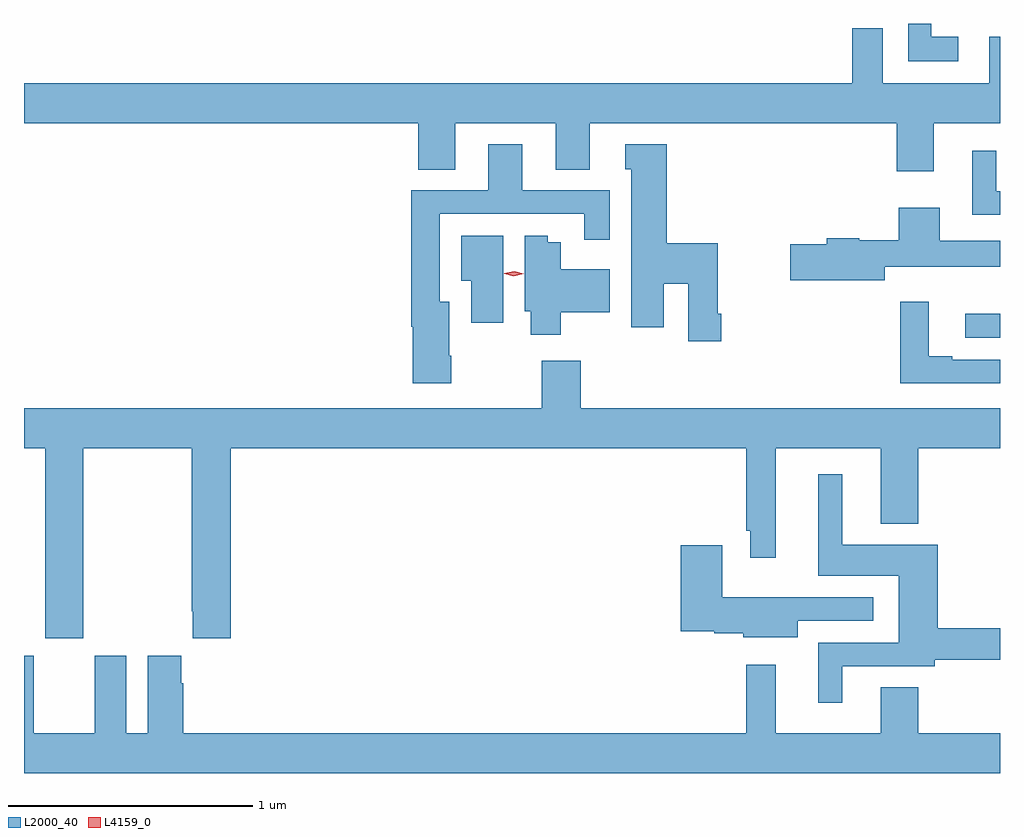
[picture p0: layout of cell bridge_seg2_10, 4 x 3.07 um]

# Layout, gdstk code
import gdstk
lib = gdstk.Library(unit=1e-6, precision=1e-09)
def R(c, l, rs):  # rectangles x0, y0, x1, y1
    for r in rs: c.add(gdstk.rectangle(r[:2], r[2:], *l))
def P(c, l, *ps):  # polygons
    for p in ps: c.add(gdstk.Polygon(p, *l))
L2000_40 = (2000, 40)
L4159_0 = (4159, 0)

bridge_seg2_10 = lib.new_cell('bridge_seg2_10')
R(bridge_seg2_10, L2000_40, [(771.669,602.802,771.812,602.9)])
P(bridge_seg2_10, L2000_40, [(771.64,604.036),(771.531,604.036),(771.531,604.089),(771.435,604.089),(771.435,603.935),(771.64,603.935)],
  [(771.541,603.68),(771.812,603.68),(771.812,604.036),(771.767,604.036),(771.767,603.844),(771.331,603.844),(771.331,604.069),(771.206,604.069),(771.206,603.844),(767.812,603.844),(767.812,603.68),(769.427,603.68),(769.427,603.49),(769.579,603.49),(769.579,603.68),(769.991,603.68),(769.991,603.49),(770.131,603.49),(770.131,603.68),(771.389,603.68),(771.389,603.483),(771.541,603.483)],
  [(769.563,602.728),(769.555,602.728),(769.555,602.95),(769.515,602.95),(769.515,603.309),(770.108,603.309),(770.108,603.204),(770.212,603.204),(770.212,603.405),(769.855,603.405),(769.855,603.595),(769.715,603.595),(769.715,603.405),(769.399,603.405),(769.399,602.846),(769.406,602.846),(769.406,602.616),(769.563,602.616)],
  [(770.669,602.899),(770.656,602.899),(770.656,603.188),(770.447,603.188),(770.447,603.595),(770.276,603.595),(770.276,603.492),(770.3,603.492),(770.3,602.844),(770.434,602.844),(770.434,603.023),(770.534,603.023),(770.534,602.787),(770.669,602.787)],
  [(771.812,603.402),(771.796,603.402),(771.796,603.568),(771.698,603.568),(771.698,603.306),(771.812,603.306)],
  [(771.34,603.092),(771.812,603.092),(771.812,603.199),(771.565,603.199),(771.565,603.334),(771.398,603.334),(771.398,603.202),(771.236,603.202),(771.236,603.21),(771.101,603.21),(771.101,603.185),(770.952,603.185),(770.952,603.038),(771.34,603.038)],
  [(770.011,602.906),(770.212,602.906),(770.212,603.082),(770.011,603.082),(770.011,603.193),(769.959,603.193),(769.959,603.22),(769.865,603.22),(769.865,602.91),(769.889,602.91),(769.889,602.813),(770.011,602.813)],
  [(769.777,603.22),(769.604,603.22),(769.604,603.035),(769.646,603.035),(769.646,602.862),(769.777,602.862)],
  [(771.812,602.712),(771.616,602.712),(771.616,602.725),(771.52,602.725),(771.52,602.95),(771.403,602.95),(771.403,602.616),(771.812,602.616)],
  [(768.054,602.348),(768.499,602.348),(768.499,601.681),(768.503,601.681),(768.503,601.569),(768.659,601.569),(768.659,602.348),(770.772,602.348),(770.772,602.011),(770.789,602.011),(770.789,601.899),(770.893,601.899),(770.893,602.348),(771.323,602.348),(771.323,602.039),(771.476,602.039),(771.476,602.348),(771.812,602.348),(771.812,602.512),(770.093,602.512),(770.093,602.707),(769.933,602.707),(769.933,602.512),(767.812,602.512),(767.812,602.348),(767.899,602.348),(767.899,601.569),(768.054,601.569)],
  [(771.166,601.455),(771.544,601.455),(771.544,601.482),(771.812,601.482),(771.812,601.61),(771.557,601.61),(771.557,601.954),(771.166,601.954),(771.166,602.242),(771.068,602.242),(771.068,601.826),(771.398,601.826),(771.398,601.551),(771.068,601.551),(771.068,601.305),(771.166,601.305)],
  [(770.983,601.641),(771.292,601.641),(771.292,601.737),(770.979,601.737),(770.979,601.738),(770.674,601.738),(770.674,601.951),(770.504,601.951),(770.504,601.598),(770.64,601.598),(770.64,601.591),(770.76,601.591),(770.76,601.574),(770.983,601.574)],
  [(771.812,601.18),(771.476,601.18),(771.476,601.37),(771.323,601.37),(771.323,601.18),(770.893,601.18),(770.893,601.462),(770.772,601.462),(770.772,601.18),(768.464,601.18),(768.464,601.385),(768.457,601.385),(768.457,601.498),(768.32,601.498),(768.32,601.18),(768.232,601.18),(768.232,601.498),(768.101,601.498),(768.101,601.18),(767.851,601.18),(767.851,601.498),(767.812,601.498),(767.812,601.016),(771.812,601.016)])
P(bridge_seg2_10, L4159_0, [(769.82,603.054),(769.781,603.064),(769.78,603.065),(769.781,603.065),(769.821,603.074),(769.861,603.063),(769.861,603.063),(769.861,603.063)])

lib.write_gds('bridge_seg2_10.gds')
